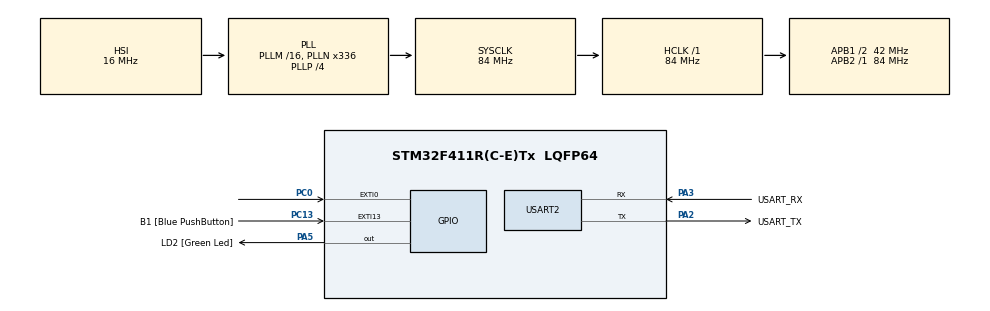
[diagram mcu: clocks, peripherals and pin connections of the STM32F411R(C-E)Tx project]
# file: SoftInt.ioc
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FREERTOS.INCLUDE_vTaskDelayUntil=1
FREERTOS.Tasks01=defaultTask,0,128,StartDefaultTask,Default,NULL
Mcu.Family=STM32F4
Mcu.Name=STM32F411R(C-E)Tx
Mcu.Package=LQFP64
NVIC.EXTI0_IRQn=true\:5\:0\:false\:false\:true\:true\:true
NVIC.PriorityGroup=NVIC_PRIORITYGROUP_4
NVIC.TIM1_UP_TIM10_IRQn=true\:0\:0\:false\:false\:true\:false\:false
NVIC.TimeBase=TIM1_UP_TIM10_IRQn
NVIC.TimeBaseIP=TIM1
PA13.GPIO_Label=TMS
PA13.Mode=Serial_Wire
PA13.Signal=SYS_JTMS-SWDIO
PA14.GPIO_Label=TCK
PA14.Mode=Serial_Wire
PA14.Signal=SYS_JTCK-SWCLK
PA2.GPIO_Label=USART_TX
PA2.Mode=Asynchronous
PA2.Signal=USART2_TX
PA3.GPIO_Label=USART_RX
PA3.Mode=Asynchronous
PA3.Signal=USART2_RX
PA5.GPIO_Label=LD2 [Green Led]
PA5.Signal=GPIO_Output
PB3.GPIO_Label=SWO
PB3.Signal=SYS_JTDO-SWO
PC0.Signal=GPXTI0
PC13-ANTI_TAMP.GPIO_Label=B1 [Blue PushButton]
PC13-ANTI_TAMP.GPIO_ModeDefaultEXTI=GPIO_MODE_IT_FALLING
PC13-ANTI_TAMP.Signal=GPXTI13
PC14-OSC32_IN.Mode=LSE-External-Oscillator
PC14-OSC32_IN.Signal=RCC_OSC32_IN
PC15-OSC32_OUT.Mode=LSE-External-Oscillator
PC15-OSC32_OUT.Signal=RCC_OSC32_OUT
PH0\ -\ OSC_IN.Mode=HSE-External-Clock-Source
PH0\ -\ OSC_IN.Signal=RCC_OSC_IN
PH1\ -\ OSC_OUT.Mode=HSE-External-Clock-Source
PH1\ -\ OSC_OUT.Signal=RCC_OSC_OUT
ProjectManager.HeapSize=0x200
ProjectManager.StackSize=0x400
ProjectManager.TargetToolchain=SW4STM32
RCC.48MHZClocksFreq_Value=84000000
RCC.AHBFreq_Value=84000000
RCC.APB1CLKDivider=RCC_HCLK_DIV2
RCC.APB1Freq_Value=42000000
RCC.APB1TimFreq_Value=84000000
RCC.APB2Freq_Value=84000000
RCC.APB2TimFreq_Value=84000000
RCC.CortexFreq_Value=84000000
RCC.FLatency-AdvancedSettings=FLASH_LATENCY_2
RCC.HCLKFreq_Value=84000000
RCC.HSE_VALUE=8000000
RCC.HSI_VALUE=16000000
RCC.PLLN=336
RCC.PLLP=RCC_PLLP_DIV4
RCC.SYSCLKFreq_VALUE=84000000
RCC.SYSCLKSource=RCC_SYSCLKSOURCE_PLLCLK
RCC.VCOOutputFreq_Value=336000000
USART2.VirtualMode=VM_ASYNC
VP_FREERTOS_VS_ENABLE.Mode=Enabled
VP_SYS_VS_tim1.Mode=TIM1
board=NUCLEO-F411RE

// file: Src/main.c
/**
  ******************************************************************************
  * @file           : main.c
  * @brief          : Main program body
  ******************************************************************************
  * This notice applies to any and all portions of this file
  * that are not between comment pairs USER CODE BEGIN and
  * USER CODE END. Other portions of this file, whether
  * inserted by the user or by software development tools
  * are owned by their respective copyright owners.
  *
  * Copyright (c) 2018 STMicroelectronics International N.V.
  * All rights reserved.
  *
  * Redistribution and use in source and binary forms, with or without
  * modification, are permitted, provided that the following conditions are met:
  *
  * 1. Redistribution of source code must retain the above copyright notice,
  *    this list of conditions and the following disclaimer.
  * 2. Redistributions in binary form must reproduce the above copyright notice,
  *    this list of conditions and the following disclaimer in the documentation
  *    and/or other materials provided with the distribution.
  * 3. Neither the name of STMicroelectronics nor the names of other
  *    contributors to this software may be used to endorse or promote products
  *    derived from this software without specific written permission.
  * 4. This software, including modifications and/or derivative works of this
  *    software, must execute solely and exclusively on microcontroller or
  *    microprocessor devices manufactured by or for STMicroelectronics.
  * 5. Redistribution and use of this software other than as permitted under
  *    this license is void and will automatically terminate your rights under
  *    this license.
  *
  * THIS SOFTWARE IS PROVIDED BY STMICROELECTRONICS AND CONTRIBUTORS "AS IS"
  * AND ANY EXPRESS, IMPLIED OR STATUTORY WARRANTIES, INCLUDING, BUT NOT
  * LIMITED TO, THE IMPLIED WARRANTIES OF MERCHANTABILITY, FITNESS FOR A
  * PARTICULAR PURPOSE AND NON-INFRINGEMENT OF THIRD PARTY INTELLECTUAL PROPERTY
  * RIGHTS ARE DISCLAIMED TO THE FULLEST EXTENT PERMITTED BY LAW. IN NO EVENT
  * SHALL STMICROELECTRONICS OR CONTRIBUTORS BE LIABLE FOR ANY DIRECT, INDIRECT,
  * INCIDENTAL, SPECIAL, EXEMPLARY, OR CONSEQUENTIAL DAMAGES (INCLUDING, BUT NOT
  * LIMITED TO, PROCUREMENT OF SUBSTITUTE GOODS OR SERVICES; LOSS OF USE, DATA,
  * OR PROFITS; OR BUSINESS INTERRUPTION) HOWEVER CAUSED AND ON ANY THEORY OF
  * LIABILITY, WHETHER IN CONTRACT, STRICT LIABILITY, OR TORT (INCLUDING
  * NEGLIGENCE OR OTHERWISE) ARISING IN ANY WAY OUT OF THE USE OF THIS SOFTWARE,
  * EVEN IF ADVISED OF THE POSSIBILITY OF SUCH DAMAGE.
  *
  ******************************************************************************
  */
#include "main.h"
#include "stm32f4xx_hal.h"
#include "cmsis_os.h"
#include "usart.h"
#include "gpio.h"

/* USER CODE BEGIN Includes */
#include "IL_debug.h"
#include "string.h"
/* USER CODE END Includes */

/* USER CODE BEGIN PV */
/* Private variables ---------------------------------------------------------*/
QueueHandle_t xIntegerQueue;
QueueHandle_t  xStringQueue;
/* USER CODE END PV */

void SystemClock_Config(void);
void MX_FREERTOS_Init(void);

/* USER CODE BEGIN PFP */
/* Private function prototypes -----------------------------------------------*/
static void vIntegerGenerator(void *pvParameters);
static void vStringPrinter(void *pvParameters);
/* USER CODE END PFP */

int main(void)
{
  /* USER CODE BEGIN 1 */
	//EXTI->IMR |= 0x00000001;
  /* USER CODE END 1 */

  /* MCU Configuration----------------------------------------------------------*/

  /* Reset of all peripherals, Initializes the Flash interface and the Systick. */
  HAL_Init();

  /* USER CODE BEGIN Init */
  xIntegerQueue = xQueueCreate(10, sizeof(uint32_t));
  xStringQueue = xQueueCreate(10, sizeof(char *));
  /* USER CODE END Init */

  /* Configure the system clock */
  SystemClock_Config();

  /* Initialize all configured peripherals */
  MX_GPIO_Init();
  MX_USART2_UART_Init();
  /* USER CODE BEGIN 2 */
//  EXTI->IMR |= 0x00000001;
//  HAL_NVIC_SetPriority(EXTI0_IRQn, 0, 0);
//  HAL_NVIC_EnableIRQ(EXTI0_IRQn);

  xTaskCreate(vIntegerGenerator, "IntGen",240, NULL, 1, NULL);
  xTaskCreate(vStringPrinter, "String", 240, NULL, 2, NULL);
  /* USER CODE END 2 */

  /* Call init function for freertos objects (in freertos.c) */
  MX_FREERTOS_Init();

  /* Start scheduler */
  osKernelStart();

  /* We should never get here as control is now taken by the scheduler */

  /* Infinite loop */
  while (1)
  {

  }

}

void SystemClock_Config(void)
{

  RCC_OscInitTypeDef RCC_OscInitStruct;
  RCC_ClkInitTypeDef RCC_ClkInitStruct;

    /**Configure the main internal regulator output voltage
    */
  __HAL_RCC_PWR_CLK_ENABLE();

  __HAL_PWR_VOLTAGESCALING_CONFIG(PWR_REGULATOR_VOLTAGE_SCALE1);

    /**Initializes the CPU, AHB and APB busses clocks
    */
  RCC_OscInitStruct.OscillatorType = RCC_OSCILLATORTYPE_HSI;
  RCC_OscInitStruct.HSIState = RCC_HSI_ON;
  RCC_OscInitStruct.HSICalibrationValue = 16;
  RCC_OscInitStruct.PLL.PLLState = RCC_PLL_ON;
  RCC_OscInitStruct.PLL.PLLSource = RCC_PLLSOURCE_HSI;
  RCC_OscInitStruct.PLL.PLLM = 16;
  RCC_OscInitStruct.PLL.PLLN = 336;
  RCC_OscInitStruct.PLL.PLLP = RCC_PLLP_DIV4;
  RCC_OscInitStruct.PLL.PLLQ = 4;
  if (HAL_RCC_OscConfig(&RCC_OscInitStruct) != HAL_OK)
  {
    _Error_Handler(__FILE__, __LINE__);
  }

    /**Initializes the CPU, AHB and APB busses clocks
    */
  RCC_ClkInitStruct.ClockType = RCC_CLOCKTYPE_HCLK|RCC_CLOCKTYPE_SYSCLK
                              |RCC_CLOCKTYPE_PCLK1|RCC_CLOCKTYPE_PCLK2;
  RCC_ClkInitStruct.SYSCLKSource = RCC_SYSCLKSOURCE_PLLCLK;
  RCC_ClkInitStruct.AHBCLKDivider = RCC_SYSCLK_DIV1;
  RCC_ClkInitStruct.APB1CLKDivider = RCC_HCLK_DIV2;
  RCC_ClkInitStruct.APB2CLKDivider = RCC_HCLK_DIV1;

  if (HAL_RCC_ClockConfig(&RCC_ClkInitStruct, FLASH_LATENCY_2) != HAL_OK)
  {
    _Error_Handler(__FILE__, __LINE__);
  }

    /**Configure the Systick interrupt time
    */
  HAL_SYSTICK_Config(HAL_RCC_GetHCLKFreq()/1000);

    /**Configure the Systick
    */
  HAL_SYSTICK_CLKSourceConfig(SYSTICK_CLKSOURCE_HCLK);

  /* SysTick_IRQn interrupt configuration */
  HAL_NVIC_SetPriority(SysTick_IRQn, 15, 0);
}

/* USER CODE BEGIN 4 */
void HAL_GPIO_EXTI_Callback(uint16_t GPIO_Pin)
{
	HAL_GPIO_TogglePin(LD2_GPIO_Port, LD2_Pin);
	portBASE_TYPE xHigherPriorityTaskWoken = pdFALSE;
	static uint32_t ulReceivedNumber;

	static const char * pcStrings[] =
	{
			"String 0\n",
			"String 1\n",
			"String 2\n",
			"String 3\n",
	};
	while(xQueueReceiveFromISR(	xIntegerQueue,
								&ulReceivedNumber,
								&xHigherPriorityTaskWoken) != errQUEUE_EMPTY)
	{
		ulReceivedNumber &= 0x03;
		xQueueSendToBackFromISR(xStringQueue,
								&pcStrings[ ulReceivedNumber],
								&xHigherPriorityTaskWoken);
	}
	portEND_SWITCHING_ISR( xHigherPriorityTaskWoken );
}

static void vIntegerGenerator(void *pvParameters)
{
	portTickType xLastExecutionTime = 0;
	uint32_t ulValueToSend = 0;

	for (;;)
	{
		/* This is a periodic task. Block until it is time to run again.
		The task will execute every 200ms. */
		vTaskDelayUntil(&xLastExecutionTime, 200 / portTICK_RATE_MS );
		/* Send an incrementing number to the queue five times. The values will
		be read from the queue by the interrupt service routine. The interrupt
		service routine always empties the queue so this task is guaranteed to be
		able to write all five values, so a block time is not required. */
		for( int i = 0; i < 5; i++)
		{
			xQueueSendToBack(xIntegerQueue, &ulValueToSend, 0);
			ulValueToSend++;
		}
		/* Force an interrupt so the interrupt service routine can read the
		values from the queue. */
		char *str = "Generator task - About to generate an interrupt.\n" ;
		_write(str, strlen(str));
		__HAL_GPIO_EXTI_GENERATE_SWIT(EXTI_SWIER_SWIER0);
		char *str1 = "Generator task - About to generate an interrupt.\n" ;
		_write(str1, strlen(str1));
	}
}
static void vStringPrinter(void *pvParameters)
{
	char *pcString;
	for(;;)
	{
		/*Block on the queue to wait for data to arrive*/
		xQueueReceive(xStringQueue, &pcString, portMAX_DELAY);

		/*Print out the string received*/
		_write(pcString, strlen(pcString));
	}
}

/* USER CODE END 4 */

void HAL_TIM_PeriodElapsedCallback(TIM_HandleTypeDef *htim)
{
  if (htim->Instance == TIM1) {
    HAL_IncTick();
  }
}

void _Error_Handler(char *file, int line)
{
  while(1)
  {
  }
}

/************************ (C) COPYRIGHT STMicroelectronics *****END OF FILE****/
